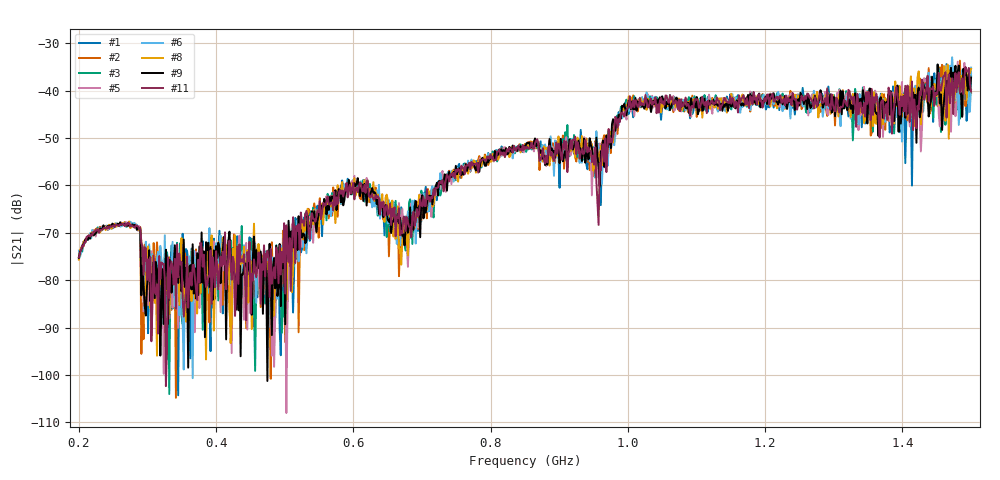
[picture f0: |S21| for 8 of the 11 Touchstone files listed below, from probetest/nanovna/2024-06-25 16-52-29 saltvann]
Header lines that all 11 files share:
! NanoVNA-App
! Start: 200MHz Stop: 1.5GHz Points: 801
! S-Parameter data: F S11 S21 S12 S22
# Hz S RI R 50
!  Frequency  S11_Real  S11_Imag  S21_Real  S21_Imag  S12_Real  S12_Imag  S22_Real  S22_Imag
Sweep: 200 MHz to 1.5 GHz
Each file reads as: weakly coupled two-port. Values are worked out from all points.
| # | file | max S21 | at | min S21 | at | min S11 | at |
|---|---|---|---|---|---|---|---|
| 1 | 2.s2p | -34.42 dB | 1.464 GHz | -104.3 dB | 344.6 MHz | -12.6 dB | 1.157 GHz |
| 2 | 3.s2p | -33.70 dB | 1.484 GHz | -104.8 dB | 341.4 MHz | -12.6 dB | 1.155 GHz |
| 3 | 4.s2p | -35.17 dB | 1.472 GHz | -104.0 dB | 331.6 MHz | -12.6 dB | 1.152 GHz |
| 4 | 6.s2p | -34.74 dB | 1.453 GHz | -95.3 dB | 406.4 MHz | -12.6 dB | 1.152 GHz |
| 5 | 9.s2p | -33.92 dB | 1.48 GHz | -108.0 dB | 502.2 MHz | -12.6 dB | 1.155 GHz |
| 6 | 13.s2p | -32.98 dB | 1.472 GHz | -100.7 dB | 365.8 MHz | -12.7 dB | 1.154 GHz |
| 7 | 14.s2p | -33.22 dB | 1.479 GHz | -99.4 dB | 489.2 MHz | -12.6 dB | 1.152 GHz |
| 8 | 19.s2p | -34.53 dB | 1.466 GHz | -96.7 dB | 385.2 MHz | -12.6 dB | 1.155 GHz |
| 9 | 20.s2p | -34.49 dB | 1.451 GHz | -101.3 dB | 474.6 MHz | -12.6 dB | 1.154 GHz |
| 10 | 21.s2p | -34.98 dB | 1.477 GHz | -101.1 dB | 356 MHz | -12.6 dB | 1.155 GHz |
| 11 | 22.s2p | -35.03 dB | 1.492 GHz | -102.3 dB | 326.8 MHz | -12.6 dB | 1.155 GHz |
